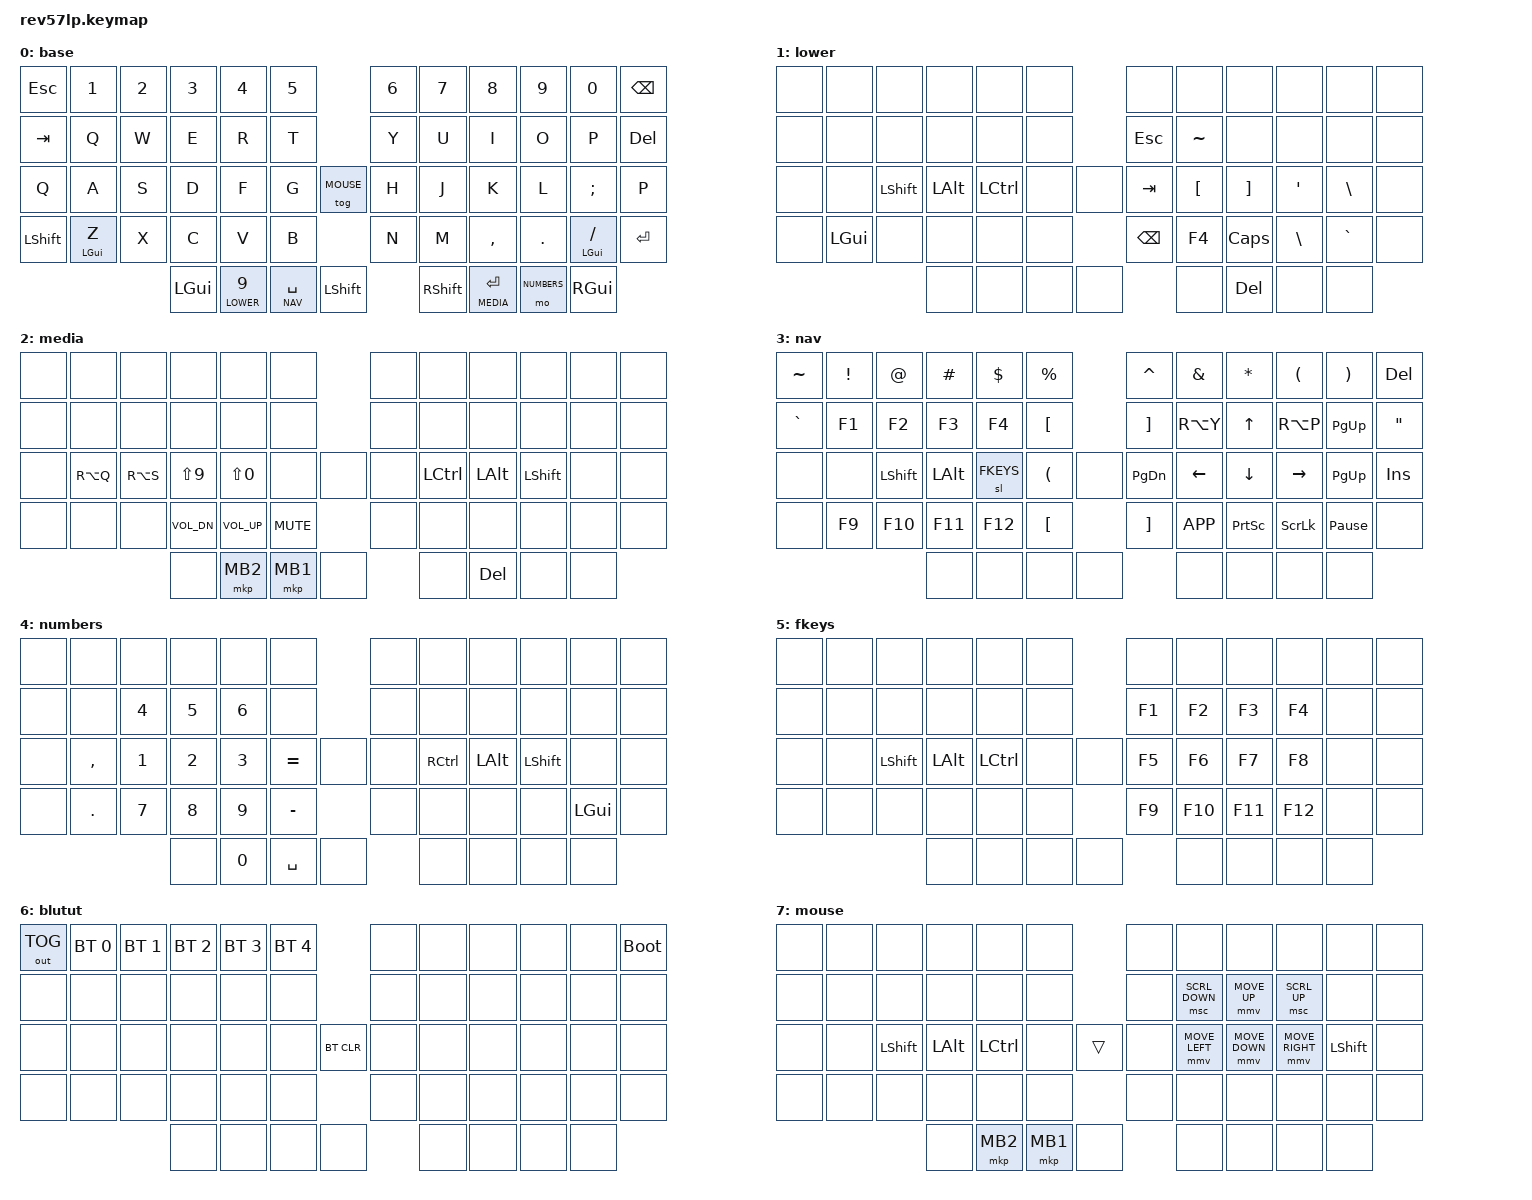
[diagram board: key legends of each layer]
/*
 * Copyright (c) 2022 The ZMK Contributors
 *
 * SPDX-License-Identifier: MIT
 */

#include <behaviors.dtsi>
#include <dt-bindings/zmk/bt.h>
#include <dt-bindings/zmk/keys.h>
#include <dt-bindings/zmk/outputs.h>
#include <dt-bindings/zmk/pointing.h>

#define BASE     0
#define LOWER    1
#define MEDIA    2
#define NAV      3
#define NUMBERS  4
#define FKEYS    5
#define BT       6
#define MOUSE    7
#define TIMEOUT_MS 20

&mt {
    tapping-term-ms = <125>;
};

/ {
    combos {
        compatible = "zmk,combos";

        combo_boot {
            timeout-ms = <TIMEOUT_MS>;
            key-positions = <4 5 6 7>;
            bindings = <&bootloader>;
        };

        combo_bt {
            timeout-ms = <TIMEOUT_MS>;
            key-positions = <49 56>;
            bindings = <&mo BT>;
        };

        /* ---- right hand mod-combos (J K L / I U O) ---- */
        combo_r_ctrl {
            timeout-ms = <TIMEOUT_MS>;
            key-positions = <32 33>;        /* J K */
            bindings = <&kp LCTRL>;
        };
        combo_r_alt {
            timeout-ms = <TIMEOUT_MS>;
            key-positions = <33 34>;        /* K L */
            bindings = <&kp LALT>;
        };
        combo_r_shift {
            timeout-ms = <TIMEOUT_MS>;
            key-positions = <32 34>;        /* J L */
            bindings = <&kp LSHIFT>;
        };
        combo_r_ctrl_alt {
            timeout-ms = <TIMEOUT_MS>;
            key-positions = <32 33 34>;     /* J K L */
            bindings = <&kp LC(LALT)>;
        };
        combo_r_ctrl_shift {
            timeout-ms = <TIMEOUT_MS>;
            key-positions = <19 20>;        /* U I */
            bindings = <&kp LC(LSHIFT)>;
        };
        combo_r_alt_shift {
            timeout-ms = <TIMEOUT_MS>;
            key-positions = <20 21>;        /* I O */
            bindings = <&kp LA(LSHIFT)>;
        };
        combo_r_ctrl_alt_shift {
            timeout-ms = <TIMEOUT_MS>;
            key-positions = <19 20 21>;     /* U I O */
            bindings = <&kp LC(LA(LSHIFT))>;
        };

        /* ---- left hand mod-combos (S D F / W E R) ---- */
        combo_l_ctrl {
            timeout-ms = <TIMEOUT_MS>;
            key-positions = <27 28>;        /* D F */
            bindings = <&kp LCTRL>;
        };
        combo_l_alt {
            timeout-ms = <TIMEOUT_MS>;
            key-positions = <26 27>;        /* S D */
            bindings = <&kp LALT>;
        };
        combo_l_shift {
            timeout-ms = <TIMEOUT_MS>;
            key-positions = <26 28>;        /* S F */
            bindings = <&kp LSHIFT>;
        };
        combo_l_ctrl_alt {
            timeout-ms = <TIMEOUT_MS>;
            key-positions = <26 27 28>;     /* S D F */
            bindings = <&kp LC(LALT)>;
        };
        combo_l_ctrl_shift {
            timeout-ms = <TIMEOUT_MS>;
            key-positions = <15 16>;        /* E R */
            bindings = <&kp LC(LSHIFT)>;
        };
        combo_l_alt_shift {
            timeout-ms = <TIMEOUT_MS>;
            key-positions = <14 15>;        /* W E */
            bindings = <&kp LA(LSHIFT)>;
        };
        combo_l_ctrl_alt_shift {
            timeout-ms = <TIMEOUT_MS>;
            key-positions = <14 15 16>;     /* W E R */
            bindings = <&kp LC(LA(LSHIFT))>;
        };
    };

    keymap {
        compatible = "zmk,keymap";

        base {
            bindings = <
&kp ESC     &kp N1  &kp N2  &kp N3     &kp N4     &kp N5                                &kp N6     &kp N7    &kp N8         &kp N9    &kp N0          &kp BACKSPACE
&kp TAB     &kp Q   &kp W   &kp E      &kp R      &kp T                                 &kp Y      &kp U     &kp I          &kp O     &kp P           &kp DEL
&kp Q       &kp A   &kp S   &kp D      &kp F      &kp G            &tog MOUSE             &kp H      &kp J     &kp K          &kp L     &kp SEMI    &kp P
&kp LSHIFT  &mt LGUI Z  &kp X   &kp C      &kp V      &kp B                             &kp N      &kp M     &kp COMMA      &kp DOT  &mt LGUI SLASH  &kp ENTER
                            &kp LGUI  &lt LOWER N9  &lt NAV SPACE  &kp LSHIFT    &kp RSHIFT     &lt MEDIA ENTER   &mo NUMBERS  &kp RGUI
            >;
        };

        lower {
	    bindings = <
&none  &none      &none      &none   &none    &none                                   &none        &none    &none    &none    &none     &none
&none  &none      &none      &none   &none    &none                                   &kp ESC       &kp TILDE &none    &none    &none     &none
&none  &none      &kp LSHIFT  &kp LALT &kp LCTRL &none                 &none            &kp TAB       &kp LBKT  &kp RBKT  &kp SQT  &kp BSLH   &none
&none  &kp LGUI    &none      &none   &none    &none                                   &kp BACKSPACE &kp F4    &kp CAPS  &kp BSLH  &kp GRAVE  &none
                                &none    &none    &none     &none          &none  &kp DEL   &none  &none
            >;
        };

        media {
            bindings = <
&none  &none      &none      &none     &none    &none                         &none &none    &none    &none     &none &none
&none  &none      &none      &none     &none    &none                         &none &none    &none    &none     &none &none
&none  &kp RA(Q)   &kp RA(S)   &kp LS(N9) &kp LS(N0) &none        &none          &none &kp LCTRL &kp LALT  &kp LSHIFT &none &none
&none  &none      &none      &kp C_VOL_DN &kp C_VOL_UP &kp C_MUTE              &none    &none    &none  &none  &none  &none
                                &none    &mkp MB2    &mkp MB1  &none             &none  &kp DEL   &none  &none
            >;
        };

        nav {
            bindings = <
&kp TILDE  &kp EXCL  &kp AT   &kp HASH  &kp DLLR  &kp PRCNT                                      &kp CARET  &kp AMPS    &kp ASTRK  &kp LPAR   &kp RPAR         &kp DEL
&kp GRAVE  &kp F1    &kp F2   &kp F3    &kp F4    &kp LBKT                                       &kp RBKT   &kp RA(Y)   &kp UP     &kp RA(P)  &kp PG_UP        &kp DQT
&none     &none    &kp LSHIFT  &kp LALT  &sl FKEYS  &kp LPAR                 &none            &kp PG_DN  &kp LEFT    &kp DOWN   &kp RIGHT  &kp PG_UP        &kp INS
&none     &kp F9    &kp F10  &kp F11   &kp F12   &kp LBKT                                       &kp RBKT   &kp K_APP   &kp PSCRN  &kp SLCK   &kp PAUSE_BREAK  &none
                              &none     &none    &none     &none          &none  &none     &none  &none
            >;
        };

        numbers {
            bindings = <
&none  &none     &none  &none  &none  &none                                &none  &none      &none      &none      &none    &none
&none  &none     &kp N4  &kp N5  &kp N6  &none                             &none  &none      &none      &none      &none    &none
&none  &kp COMMA  &kp N1  &kp N2  &kp N3  &kp EQUAL        &none           &none  &kp RCTRL   &kp LALT  &kp LSHIFT  &none    &none
&none  &kp DOT    &kp N7  &kp N8  &kp N9  &kp MINUS                        &none  &none      &none      &none      &kp LGUI  &none
                              &none    &kp N0  &kp SPACE &none     &none   &none  &none  &none
            >;
        };

        fkeys {
            bindings = <
&none  &none  &none  &none    &none    &none                         &none  &none  &none   &none   &none  &none
&none  &none  &none  &none    &none    &none                         &kp F1  &kp F2  &kp F3   &kp F4   &none  &none
&none  &none  &kp LSHIFT &kp LALT  &kp LCTRL &none      &none          &kp F5  &kp F6  &kp F7   &kp F8   &none  &none
&none  &none  &none  &none    &none    &none                         &kp F9  &kp F10 &kp F11  &kp F12  &none  &none
                        &none    &none    &none  &none         &none  &none  &none  &none
            >;
        };

        blutut {
            bindings = <
&out OUT_TOG  &bt BT_SEL 0  &bt BT_SEL 1  &bt BT_SEL 2  &bt BT_SEL 3  &bt BT_SEL 4                            &none  &none  &none  &none  &none  &bootloader
&none         &none         &none         &none         &none         &none                                   &none  &none  &none  &none  &none  &none
&none         &none         &none         &none         &none         &none                &bt BT_CLR         &none  &none  &none  &none  &none  &none
&none         &none         &none         &none         &none         &none                                   &none  &none  &none  &none  &none  &none
                                          &none         &none         &none         &none              &none  &none  &none  &none
            >;
        };

        mouse {
            bindings = <
&none         &none         &none         &none         &none         &none                                   &none  &none  &none  &none  &none  &none
&none         &none         &none         &none         &none         &none                                   &none &msc SCRL_DOWN &mmv MOVE_UP   &msc SCRL_UP &none     &none
&none         &none         &kp LSHIFT    &kp LALT      &kp LCTRL     &none              &trans               &none &mmv MOVE_LEFT &mmv MOVE_DOWN &mmv MOVE_RIGHT  &kp LSHIFT &none
&none         &none         &none         &none         &none         &none                                   &none  &none  &none  &none  &none  &none
                                          &none         &mkp MB2      &mkp MB1    &none              &none  &none  &none  &none
            >;
        };
    };



};
